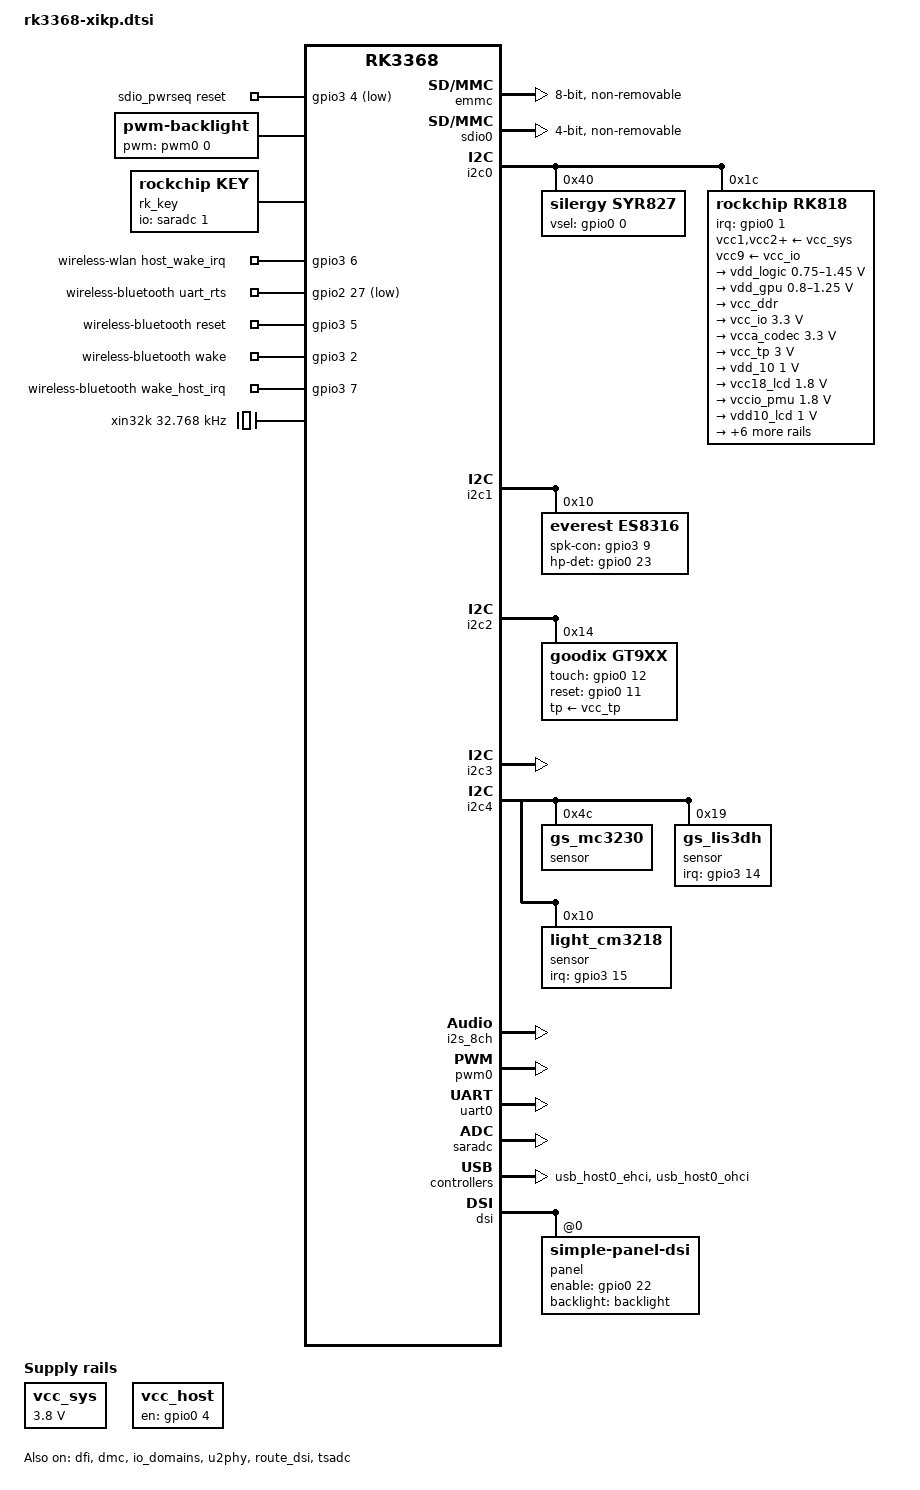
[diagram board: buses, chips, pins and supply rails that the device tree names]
/*
 * Copyright (c) 2017 Fuzhou Rockchip Electronics Co., Ltd
 *
 * This file is dual-licensed: you can use it either under the terms
 * of the GPL or the X11 license, at your option. Note that this dual
 * licensing only applies to this file, and not this project as a
 * whole.
 *
 *  a) This file is free software; you can redistribute it and/or
 *     modify it under the terms of the GNU General Public License as
 *     published by the Free Software Foundation; either version 2 of the
 *     License, or (at your option) any later version.
 *
 *     This file is distributed in the hope that it will be useful,
 *     but WITHOUT ANY WARRANTY; without even the implied warranty of
 *     MERCHANTABILITY or FITNESS FOR A PARTICULAR PURPOSE.  See the
 *     GNU General Public License for more details.
 *
 * Or, alternatively,
 *
 *  b) Permission is hereby granted, free of charge, to any person
 *     obtaining a copy of this software and associated documentation
 *     files (the "Software"), to deal in the Software without
 *     restriction, including without limitation the rights to use,
 *     copy, modify, merge, publish, distribute, sublicense, and/or
 *     sell copies of the Software, and to permit persons to whom the
 *     Software is furnished to do so, subject to the following
 *     conditions:
 *
 *     The above copyright notice and this permission notice shall be
 *     included in all copies or substantial portions of the Software.
 *
 *     THE SOFTWARE IS PROVIDED "AS IS", WITHOUT WARRANTY OF ANY KIND,
 *     EXPRESS OR IMPLIED, INCLUDING BUT NOT LIMITED TO THE WARRANTIES
 *     OF MERCHANTABILITY, FITNESS FOR A PARTICULAR PURPOSE AND
 *     NONINFRINGEMENT. IN NO EVENT SHALL THE AUTHORS OR COPYRIGHT
 *     HOLDERS BE LIABLE FOR ANY CLAIM, DAMAGES OR OTHER LIABILITY,
 *     WHETHER IN AN ACTION OF CONTRACT, TORT OR OTHERWISE, ARISING
 *     FROM, OUT OF OR IN CONNECTION WITH THE SOFTWARE OR THE USE OR
 *     OTHER DEALINGS IN THE SOFTWARE.
 */

/dts-v1/;
#include <dt-bindings/pwm/pwm.h>
#include <dt-bindings/sensor-dev.h>
#include "rk3368.dtsi"
#include "rk3368-android.dtsi"

/ {
	es8316-sound {
		compatible = "simple-audio-card";
		simple-audio-card,format = "i2s";
		simple-audio-card,name = "rockchip,rk-es8316-codec";
		simple-audio-card,mclk-fs = <256>;
		simple-audio-card,widgets =
			"Microphone", "Mic Jack",
			"Headphone", "Headphone Jack";
		simple-audio-card,routing =
			"Mic Jack", "MICBIAS1",
			"IN1P", "Mic Jack",
			"Headphone Jack", "HPOL",
			"Headphone Jack", "HPOR";
		simple-audio-card,cpu {
			sound-dai = <&i2s_8ch>;
		};
		simple-audio-card,codec {
			sound-dai = <&es8316>;
		};
	};

	ramoops_mem: ramoops_mem {
		reg = <0x0 0x110000 0x0 0xf0000>;
		reg-names = "ramoops_mem";
	};

	ramoops {
		compatible = "ramoops";
		record-size = <0x0 0x20000>;
		console-size = <0x0 0x80000>;
		ftrace-size = <0x0 0x00000>;
		pmsg-size = <0x0 0x50000>;
		memory-region = <&ramoops_mem>;
	};

	sdio_pwrseq: sdio-pwrseq {
		compatible = "mmc-pwrseq-simple";
		clocks = <&rk818 1>;
		clock-names = "ext_clock";
		pinctrl-names = "default";
		pinctrl-0 = <&wifi_enable_h>;

		/*
		 * On the module itself this is one of these (depending
		 * on the actual card populated):
		 * - SDIO_RESET_L_WL_REG_ON
		 * - PDN (power down when low)
		 */
		reset-gpios = <&gpio3 4 GPIO_ACTIVE_LOW>; /* GPIO3_A4 */
	};

	backlight: backlight {
		compatible = "pwm-backlight";
		pwms = <&pwm0 0 25000 0>;
		brightness-levels = <
			  0   1   2   3   4   5   6   7
			  8   9  10  11  12  13  14  15
			 16  17  18  19  20  21  22  23
			 24  25  26  27  28  29  30  31
			 32  33  34  35  36  37  38  39
			 40  41  42  43  44  45  46  47
			 48  49  50  51  52  53  54  55
			 56  57  58  59  60  61  62  63
			 64  65  66  67  68  69  70  71
			 72  73  74  75  76  77  78  79
			 80  81  82  83  84  85  86  87
			 88  89  90  91  92  93  94  95
			 96  97  98  99 100 101 102 103
			104 105 106 107 108 109 110 111
			112 113 114 115 116 117 118 119
			120 121 122 123 124 125 126 127
			128 129 130 131 132 133 134 135
			136 137 138 139 140 141 142 143
			144 145 146 147 148 149 150 151
			152 153 154 155 156 157 158 159
			160 161 162 163 164 165 166 167
			168 169 170 171 172 173 174 175
			176 177 178 179 180 181 182 183
			184 185 186 187 188 189 190 191
			192 193 194 195 196 197 198 199
			200 201 202 203 204 205 206 207
			208 209 210 211 212 213 214 215
			216 217 218 219 220 221 222 223
			224 225 226 227 228 229 230 231
			232 233 234 235 236 237 238 239
			240 241 242 243 244 245 246 247
			248 249 250 251 252 253 254 255>;
		default-brightness-level = <200>;
	};

	charge-animation {
		compatible = "rockchip,uboot-charge";
		rockchip,uboot-charge-on = <1>;
		rockchip,android-charge-on = <0>;
		rockchip,uboot-low-power-voltage = <3500>;
		rockchip,screen-on-voltage = <3600>;
		status = "okay";
	};

	rk_key: rockchip-key {
		compatible = "rockchip,key";
		status = "okay";

		io-channels = <&saradc 1>;

		vol-up-key {
			linux,code = <115>;
			label = "volume up";
			rockchip,adc_value = <1>;
		};

		vol-down-key {
			linux,code = <114>;
			label = "volume down";
			rockchip,adc_value = <170>;
		};

		power-key {
			gpios = <&gpio0 2 GPIO_ACTIVE_LOW>;
			linux,code = <116>;
			label = "power";
			gpio-key,wakeup;
		};
	};

	wireless-wlan {
		compatible = "wlan-platdata";
		rockchip,grf = <&grf>;
		/* wifi_chip_type - wifi chip define
		* ap6210, ap6330, ap6335
		* rtl8188eu, rtl8723bs, rtl8723bu
		* esp8089
		*/
		wifi_chip_type = "ap6255";
		sdio_vref = <1800>; //1800mv or 3300mv
		WIFI,host_wake_irq = <&gpio3 6 GPIO_ACTIVE_HIGH>;
		status = "okay";
	};

	wireless-bluetooth {
		compatible = "bluetooth-platdata";
		clocks = <&rk818 1>;
		clock-names = "ext_clock";
		uart_rts_gpios = <&gpio2 27 GPIO_ACTIVE_LOW>;
		pinctrl-names = "default","rts_gpio";
		pinctrl-0 = <&uart0_rts>;
		pinctrl-1 = <&uart0_rts_gpio>;

		//BT,power_gpio = <&gpio3 3 GPIO_ACTIVE_HIGH>;
		BT,reset_gpio = <&gpio3 5 GPIO_ACTIVE_HIGH>;
		BT,wake_gpio = <&gpio3 2 GPIO_ACTIVE_HIGH>;
		BT,wake_host_irq = <&gpio3 7 GPIO_ACTIVE_HIGH>;

		status = "okay";
	};

	vcc_sys: vcc-sys {
		compatible = "regulator-fixed";
		regulator-name = "vcc_sys";
		regulator-always-on;
		regulator-boot-on;
		regulator-min-microvolt = <3800000>;
		regulator-max-microvolt = <3800000>;
	};

	vcc_host: vcc-host {
		compatible = "regulator-fixed";
		enable-active-high;
		gpio = <&gpio0 4 GPIO_ACTIVE_HIGH>;
		pinctrl-names = "default";
		pinctrl-0 = <&host_vbus_drv>;
		regulator-name = "vcc_host";
		regulator-always-on;
	};

	xin32k: xin32k {
		compatible = "fixed-clock";
		clock-frequency = <32768>;
		clock-output-names = "xin32k";
		#clock-cells = <0>;
	};
};

&cpu_l0 {
	cpu-supply = <&syr827>;
};

&cpu_l1 {
	cpu-supply = <&syr827>;
};

&cpu_l2 {
	cpu-supply = <&syr827>;
};

&cpu_l3 {
	cpu-supply = <&syr827>;
};

&cpu_b0 {
	cpu-supply = <&syr827>;
};

&cpu_b1 {
	cpu-supply = <&syr827>;
};

&cpu_b2 {
	cpu-supply = <&syr827>;
};

&cpu_b3 {
	cpu-supply = <&syr827>;
};

&gpu {
	logic-supply = <&vdd_logic>;
};

&dfi {
	status = "okay";
};

&dmc {
	status = "okay";
	center-supply = <&vdd_logic>;
	devfreq-events = <&dfi>;
	upthreshold = <60>;
	downdifferential = <20>;
	system-status-freq = <
		/*system status		freq(KHz)*/
		SYS_STATUS_NORMAL	600000
		SYS_STATUS_REBOOT	600000
		SYS_STATUS_SUSPEND	240000
		SYS_STATUS_VIDEO_1080P	240000
		SYS_STATUS_VIDEO_4K	600000
		SYS_STATUS_PERFORMANCE	600000
		SYS_STATUS_BOOST	396000
		SYS_STATUS_DUALVIEW	600000
		SYS_STATUS_ISP		528000
	>;
	vop-bw-dmc-freq = <
	/* min_bw(MB/s) max_bw(MB/s) freq(KHz) */
		0       531      240000
		532     99999    396000
	>;
	auto-min-freq = <240000>;
	auto-freq-en = <1>;
};

&rockchip_suspend {
	status = "okay";
	rockchip,sleep-mode-config = <
		(0
		| RKPM_SLP_ARMOFF
		| RKPM_SLP_PMU_PLLS_PWRDN
		| RKPM_SLP_PMU_PMUALIVE_32K
		| RKPM_SLP_SFT_PLLS_DEEP
		| RKPM_SLP_PMU_DIS_OSC
		| RKPM_SLP_SFT_PD_NBSCUS
		)
	>;
	rockchip,wakeup-config = <
		(0
		| RKPM_GPIO_WKUP_EN
		| RKPM_USB_WKUP_EN
		| RKPM_CLUSTER_L_WKUP_EN
		)
	>;
};

&emmc {
	bus-width = <8>;
	cap-mmc-highspeed;
	mmc-hs200-1_8v;
	supports-emmc;
	disable-wp;
	non-removable;
	num-slots = <1>;
	pinctrl-names = "default";
	pinctrl-0 = <&emmc_clk &emmc_cmd &emmc_bus8>;
	status = "okay";
};

&nandc0 {
	status = "disabled";
};

&sdmmc {
	clock-frequency = <37500000>;
	clock-freq-min-max = <400000 37500000>;
	supports-sd;
	cap-mmc-highspeed;
	cap-sd-highspeed;
	card-detect-delay = <200>;
	disable-wp;
	num-slots = <1>;
	pinctrl-names = "default";
	pinctrl-0 = <&sdmmc_clk &sdmmc_cmd &sdmmc_cd &sdmmc_bus4>;
	status = "disabled";
};

&sdio0 {
	clock-frequency = <100000000>;
	clock-freq-min-max = <200000 100000000>;
	supports-sdio;
	bus-width = <4>;
	disable-wp;
	cap-sd-highspeed;
	cap-sdio-irq;
	keep-power-in-suspend;
	mmc-pwrseq = <&sdio_pwrseq>;
	non-removable;
	num-slots = <1>;
	pinctrl-names = "default";
	pinctrl-0 = <&sdio0_bus4 &sdio0_cmd &sdio0_clk>;
	sd-uhs-sdr104;
	status = "okay";
};

&i2c0 {
	status = "okay";

	syr827: syr827@40 {
		compatible = "silergy,syr827";
		status = "okay";
		reg = <0x40>;

		regulator-compatible = "fan53555-reg";
		regulator-name = "vdd_arm";
		regulator-min-microvolt = <712500>;
		regulator-max-microvolt = <1500000>;
		regulator-ramp-delay = <1000>;
		fcs,suspend-voltage-selector = <1>;
		pinctrl-0 = <&vsel_gpio>;
		vsel-gpios = <&gpio0 0 GPIO_ACTIVE_HIGH>;
		regulator-always-on;
		regulator-boot-on;
		regulator-initial-state = <3>;
		regulator-state-mem {
			regulator-off-in-suspend;
			regulator-suspend-microvolt = <900000>;
		};
	};

	rk818: pmic@1c {
		compatible = "rockchip,rk818";
		status = "okay";
		reg = <0x1c>;
		clock-output-names = "rk818-clkout1", "wifibt_32kin";
		interrupt-parent = <&gpio0>;
		interrupts = <1 IRQ_TYPE_LEVEL_LOW>;
		pinctrl-names = "default";
		pinctrl-0 = <&pmic_int_l>;
		rockchip,system-power-controller;
		wakeup-source;
		#clock-cells = <1>;

		vcc1-supply = <&vcc_sys>;
		vcc2-supply = <&vcc_sys>;
		vcc3-supply = <&vcc_sys>;
		vcc4-supply = <&vcc_sys>;
		vcc6-supply = <&vcc_sys>;
		vcc7-supply = <&vcc_sys>;
		vcc8-supply = <&vcc_sys>;
		vcc9-supply = <&vcc_io>;

		regulators {
			vdd_logic: DCDC_REG1 {
				regulator-name = "vdd_logic";
				regulator-always-on;
				regulator-boot-on;
				regulator-min-microvolt = <750000>;
				regulator-max-microvolt = <1450000>;
				regulator-ramp-delay = <6001>;
				regulator-state-mem {
					regulator-on-in-suspend;
					regulator-suspend-microvolt = <1000000>;
				};
			};

			vdd_gpu: DCDC_REG2 {
				regulator-name = "vdd_gpu";
				regulator-always-on;
				regulator-boot-on;
				regulator-min-microvolt = <800000>;
				regulator-max-microvolt = <1250000>;
				regulator-ramp-delay = <6001>;
				regulator-state-mem {
					regulator-on-in-suspend;
					regulator-suspend-microvolt = <1000000>;
				};
			};

			vcc_ddr: DCDC_REG3 {
				regulator-always-on;
				regulator-boot-on;
				regulator-name = "vcc_ddr";
				regulator-state-mem {
					regulator-on-in-suspend;
				};
			};

			vcc_io: DCDC_REG4 {
				regulator-always-on;
				regulator-boot-on;
				regulator-min-microvolt = <3300000>;
				regulator-max-microvolt = <3300000>;
				regulator-name = "vcc_io";
				regulator-state-mem {
					regulator-on-in-suspend;
					regulator-suspend-microvolt = <3300000>;
				};
			};

			vcca_codec: LDO_REG1 {
				regulator-always-on;
				regulator-boot-on;
				regulator-min-microvolt = <3300000>;
				regulator-max-microvolt = <3300000>;
				regulator-name = "vcca_codec";
				regulator-state-mem {
					regulator-on-in-suspend;
					regulator-suspend-microvolt = <3300000>;
				};
			};

			vcc_tp: LDO_REG2 {
				regulator-boot-on;
				regulator-min-microvolt = <3000000>;
				regulator-max-microvolt = <3000000>;
				regulator-name = "vcc_tp";
				regulator-state-mem {
					regulator-off-in-suspend;
				};
			};

			vdd_10: LDO_REG3 {
				regulator-always-on;
				regulator-boot-on;
				regulator-min-microvolt = <1000000>;
				regulator-max-microvolt = <1000000>;
				regulator-name = "vdd_10";
				regulator-state-mem {
					regulator-on-in-suspend;
					regulator-suspend-microvolt = <1000000>;
				};
			};

			vcc18_lcd: LDO_REG4 {
				regulator-always-on;
				regulator-boot-on;
				regulator-min-microvolt = <1800000>;
				regulator-max-microvolt = <1800000>;
				regulator-name = "vcc18_lcd";
				regulator-state-mem {
					regulator-on-in-suspend;
					regulator-suspend-microvolt = <1800000>;
				};
			};

			vccio_pmu: LDO_REG5 {
				regulator-always-on;
				regulator-boot-on;
				regulator-min-microvolt = <1800000>;
				regulator-max-microvolt = <1800000>;
				regulator-name = "vccio_pmu";
				regulator-state-mem {
					regulator-on-in-suspend;
					regulator-suspend-microvolt = <1800000>;
				};
			};

			vdd10_lcd: LDO_REG6 {
				regulator-always-on;
				regulator-boot-on;
				regulator-min-microvolt = <1000000>;
				regulator-max-microvolt = <1000000>;
				regulator-name = "vdd10_lcd";
				regulator-state-mem {
					regulator-on-in-suspend;
					regulator-suspend-microvolt = <1000000>;
				};
			};

			vcc_18: LDO_REG7 {
				regulator-always-on;
				regulator-boot-on;
				regulator-min-microvolt = <1800000>;
				regulator-max-microvolt = <1800000>;
				regulator-name = "vcc_18";
				regulator-state-mem {
					regulator-on-in-suspend;
					regulator-suspend-microvolt = <1800000>;
				};
			};

			vccio_wl: LDO_REG8 {
				regulator-always-on;
				regulator-boot-on;
				regulator-min-microvolt = <1800000>;
				regulator-max-microvolt = <1800000>;
				regulator-name = "vccio_wl";
				regulator-state-mem {
					regulator-on-in-suspend;
					regulator-suspend-microvolt = <1800000>;
				};
			};

			vccio_sd: LDO_REG9 {
				regulator-always-on;
				regulator-boot-on;
				regulator-min-microvolt = <1800000>;
				regulator-max-microvolt = <3300000>;
				regulator-name = "vccio_sd";
				regulator-state-mem {
					regulator-on-in-suspend;
					regulator-suspend-microvolt = <3300000>;
				};
			};

			vcc_sd: SWITCH_REG {
				regulator-always-on;
				regulator-boot-on;
				regulator-name = "vcc_sd";
				regulator-state-mem {
					regulator-on-in-suspend;
				};
			};

			boost_otg: DCDC_BOOST {
				regulator-name = "boost_otg";
				regulator-always-on;
				regulator-boot-on;
				regulator-min-microvolt = <5000000>;
				regulator-max-microvolt = <5000000>;
				regulator-state-mem {
					regulator-on-in-suspend;
					regulator-suspend-microvolt = <5000000>;
				};
			};

			otg_switch: OTG_SWITCH {
				regulator-name = "otg_switch";
			};
		};

		battery {
			compatible = "rk818-battery";
			pinctrl-names = "default";
			pinctrl-0 = <&dc_irq_gpio>;
			ocv_table = <
				3400 3652 3680 3707 3730 3747 3764
				3772 3781 3792 3807 3828 3861 3899
				3929 3958 3987 4038 4079 4127 4186>;
			design_capacity = <7536>;
			design_qmax = <8290>;
			bat_res = <100>;
			max_input_current = <1750>;
			max_chrg_current = <2000>;
			max_chrg_voltage = <4200>;
			sleep_enter_current = <600>;
			sleep_exit_current = <600>;
			power_off_thresd = <3400>;
			zero_algorithm_vol = <3850>;
			fb_temperature = <115>;
			sample_res = <20>;
			max_soc_offset = <60>;
			energy_mode = <0>;
			monitor_sec = <5>;
			virtual_power = <0>;
			power_dc2otg = <0>;
			support_usb_adp = <1>;
			support_dc_adp = <1>;
			dc_det_gpio = <&gpio0 17 GPIO_ACTIVE_LOW>;
		};
	};
};

&i2c1 {
	status = "okay";

	es8316: es8316@10 {
		status = "okay";
		#sound-dai-cells = <0>;
		compatible = "everest,es8316";
		reg = <0x10>;
		clocks = <&cru SCLK_I2S_8CH_OUT>;
		clock-names = "mclk";
		spk-con-gpio = <&gpio3 9 GPIO_ACTIVE_HIGH>;
		hp-det-gpio = <&gpio0 23 GPIO_ACTIVE_HIGH>;
		pinctrl-names = "default";
		pinctrl-0 = <&i2s_8ch_mclk>;
	};
};

&i2c2 {
	status = "okay";

	gt9xx: gt9xx@14 {
		compatible = "goodix,gt9xx";
		reg = <0x14>;
		touch-gpio = <&gpio0 12 IRQ_TYPE_LEVEL_HIGH>;
		reset-gpio = <&gpio0 11 GPIO_ACTIVE_HIGH>;
		max-x = <1920>;
		max-y = <1200>;
		tp-size = <89>;
		configfile-num = <1>;
		status = "okay";
		tp-supply = <&vcc_tp>;
	};
};

&i2c3 {
	status = "okay";
};

&i2c4 {
	status = "okay";

	mpu6500@68 {
		status = "disabled";
		compatible = "invensense,mpu6500";
		pinctrl-names = "default";
		pinctrl-0 = <&mpu6500_irq_gpio>;
		reg = <0x68>;
		irq-gpio = <&gpio3 14 IRQ_TYPE_EDGE_RISING>;
		mpu-int_config = <0x10>;
		mpu-level_shifter = <0>;
		mpu-orientation = <1 0 0 0 1 0 0 0 1>;
		orientation-x= <1>;
		orientation-y= <0>;
		orientation-z= <1>;
		support-hw-poweroff = <1>;
		mpu-debug = <1>;
	};

	sensor@4c {
		status = "okay";
		compatible = "gs_mc3230";
		reg = <0x4c>;
		type = <SENSOR_TYPE_ACCEL>;
		irq_enable = <0>;
		poll_delay_ms = <30>;
		layout = <4>;
		reprobe_en = <1>;
	};

	sensor@19 {
		status = "okay";
		compatible = "gs_lis3dh";
		reg = <0x19>;
		type = <SENSOR_TYPE_ACCEL>;
		irq-gpio = <&gpio3 14 IRQ_TYPE_LEVEL_LOW>;
		irq_enable = <0>;
		poll_delay_ms = <30>;
		layout = <6>;
		reprobe_en = <1>;
	};

	sensor@10 {
		status = "okay";
		compatible = "light_cm3218";
		pinctrl-names = "default";
		pinctrl-0 = <&cm3218_irq_gpio>;
		reg = <0x10>;
		type = <SENSOR_TYPE_LIGHT>;
		irq-gpio = <&gpio3 15 IRQ_TYPE_EDGE_FALLING>;
		irq_enable = <1>;
		poll_delay_ms = <30>;
	};
};

&i2s_8ch {
	status = "okay";
	rockchip,i2s-broken-burst-len;
	rockchip,playback-channels = <8>;
	rockchip,capture-channels = <2>;
	#sound-dai-cells = <0>;
};

&io_domains {
	status = "okay";

	dvp-supply = <&vcc_18>;
	audio-supply = <&vcc_io>;
	gpio30-supply = <&vcc_io>;
	gpio1830-supply = <&vcc_io>;
	sdcard-supply = <&vccio_sd>;
	wifi-supply = <&vccio_wl>;
};

&pmu_io_domains {
	status = "okay";

	pmu-supply = <&vccio_pmu>;
	vop-supply = <&vccio_pmu>;
};

&pwm0 {
	status = "okay";
};

&uart0 {
	pinctrl-names = "default";
	pinctrl-0 = <&uart0_xfer &uart0_cts>;
	status = "okay";
};

&saradc {
	status = "okay";
};

&u2phy {
	status = "okay";

	u2phy_host: host-port {
		phy-supply = <&vcc_host>;
		status = "okay";
	};
};

&usb_host0_ehci {
	status = "okay";
};

&usb_host0_ohci {
	status = "okay";
};

&dsi {
	status = "okay";

	panel@0 {
		compatible = "simple-panel-dsi";
		reg = <0>;
		backlight = <&backlight>;
		enable-gpios = <&gpio0 22 GPIO_ACTIVE_HIGH>;
		prepare-delay-ms = <120>;
		enable-delay-ms = <200>;

		dsi,flags = <(MIPI_DSI_MODE_VIDEO | MIPI_DSI_MODE_VIDEO_BURST |
			      MIPI_DSI_MODE_LPM | MIPI_DSI_MODE_EOT_PACKET)>;
		dsi,format = <MIPI_DSI_FMT_RGB888>;
		dsi,lanes = <4>;

		display-timings {
			native-mode = <&timing0>;

			timing0: timing0 {
				clock-frequency = <159000000>;
				hactive = <1200>;
				vactive = <1920>;
				hback-porch = <60>;
				hfront-porch = <80>;
				vback-porch = <25>;
				vfront-porch = <35>;
				hsync-len = <1>;
				vsync-len = <1>;
				hsync-active = <0>;
				vsync-active = <0>;
				de-active = <0>;
				pixelclk-active = <0>;
			};
		};
	};
};

&route_dsi {
	status = "okay";
};

&tsadc {
	tsadc-supply = <&syr827>;
	status = "okay";
};

&pinctrl {
	pmic {
		pmic_int_l: pmic-int-l {
			rockchip,pins = <RK_GPIO0 1 RK_FUNC_GPIO &pcfg_pull_up>;
		};
		vsel_gpio: vsel-gpio {
			rockchip,pins = <0 0 RK_FUNC_GPIO &pcfg_pull_down>;
		};
	};

	mpu6500 {
		mpu6500_irq_gpio: mpu6500-irq-gpio {
			rockchip,pins = <3 14 RK_FUNC_GPIO &pcfg_pull_none>;
		};
	};

	cm3218 {
		cm3218_irq_gpio: cm3218-irq-gpio {
			rockchip,pins = <3 15 RK_FUNC_GPIO &pcfg_pull_up>;
		};
	};

	dc_det {
		dc_irq_gpio: dc-irq-gpio {
			rockchip,pins = <0 17 RK_FUNC_GPIO &pcfg_pull_up>;
		};
	};

	sdio-pwrseq {
		wifi_enable_h: wifi-enable-h {
			rockchip,pins = <3 4 RK_FUNC_GPIO &pcfg_pull_none>;
		};
	};

	usb2 {
		host_vbus_drv: host-vbus-drv {
			rockchip,pins = <RK_GPIO0 4 RK_FUNC_GPIO &pcfg_pull_none>;
		};
	};

	wireless-bluetooth {
		uart0_rts_gpio: uart0-rts-gpio {
			rockchip,pins = <2 27 RK_FUNC_GPIO &pcfg_pull_none>;
		};
	};
};

